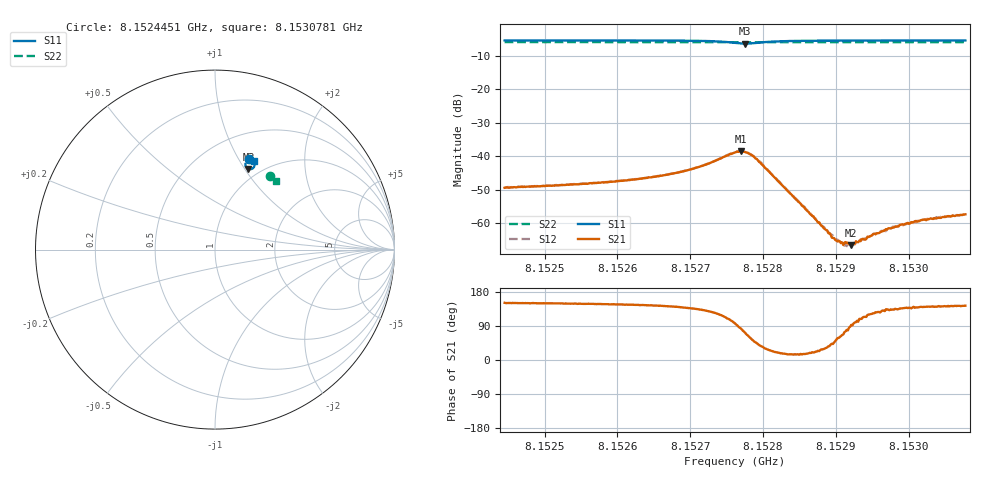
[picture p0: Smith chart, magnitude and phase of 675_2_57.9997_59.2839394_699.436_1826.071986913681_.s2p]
#  HZ  S  RI  R  50.00
! Rohde & Schwarz Vector Network Analyzer
! Rohde-Schwarz,ZNB20-2Port,1311601062101988,3.16
! Created: UTC 3/21/2024, 1:20:37 AM
! freq[Hz]  re:S11  im:S11  re:S21  im:S21  re:S12  im:S12  re:S22  im:S22
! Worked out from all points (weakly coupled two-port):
!   401 points, 8.1524451 GHz to 8.1530781 GHz, reference 50 ohm
!   highest |S21| = -38.52 dB at 8.1527695 GHz (marker M1); lowest = -66.7 dB at 8.1529215 GHz (marker M2)
!   lowest |S11| = -6.3 dB at 8.1527759 GHz (marker M3), VSWR 2.89, Z = 44.2 + j52 ohm
!   |S11| at or under -10 dB: nowhere
!   |S22| runs from -5.9 to -5.8 dB; largest |S21 - S12| = 0.0003
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8.15244508e9  0.1875 0.5071  -0.00295 0.00164  -0.00295 0.00173  0.3087 0.4077
8.15255112e9  0.1965 0.5036  -0.00327 0.00201  -0.0033 0.00209  0.314 0.4033
8.15260967e9  0.2023 0.5007  -0.00357 0.00243  -0.00359 0.00245  0.317 0.4009
8.15265715e9  0.2081 0.497  -0.00401 0.00303  -0.00404 0.0031  0.3193 0.3989
8.15268248e9  0.2119 0.4938  -0.00436 0.00363  -0.0043 0.00371  0.3206 0.3977
8.15271255e9  0.2173 0.4869  -0.00479 0.00503  -0.00473 0.00515  0.3221 0.3961
8.15276161e9  0.2096 0.4522  -0.00131 0.0113  -0.00129 0.0114  0.3235 0.393
8.15276952e9  0.1975 0.4476  0.00135 0.0118  0.00154 0.0118  0.3235 0.3926
8.15277586e9  0.1861 0.4489  0.00379 0.0109  0.00374 0.011  0.3233 0.3927
8.15278535e9  0.173 0.4595  0.00611 0.0082  0.00616 0.00834  0.3236 0.393
8.15279801e9  0.1692 0.4769  0.00618 0.00447  0.00647 0.00453  0.3241 0.3932
8.15286765e9  0.1939 0.4996  0.0012 0.000448  0.00122 0.000397  0.3288 0.3907
8.15289772e9  0.1997 0.4996  0.000414 0.000427  0.000401 0.000441  0.3303 0.3895
8.15290722e9  0.2012 0.4995  0.000228 0.000447  0.000249 0.000435  0.3308 0.3891
8.15291197e9  0.202 0.4993  0.000146 0.000487  0.000125 0.000439  0.331 0.3889
8.15291513e9  0.2025 0.4994  9.15e-05 0.000493  0.000103 0.000439  0.3311 0.3888
8.15292146e9  0.2033 0.4992  -2.44e-05 0.000463  -1.94e-06 0.00049  0.3314 0.3885
8.1529547e9  0.2075 0.4984  -0.0004 0.000548  -0.000387 0.00058  0.3329 0.3871
8.15297369e9  0.2095 0.4979  -0.000554 0.000628  -0.000557 0.000599  0.3339 0.3863
8.15298793e9  0.211 0.4976  -0.000674 0.000651  -0.0007 0.000645  0.3347 0.3856
8.15301959e9  0.2138 0.4965  -0.000853 0.00072  -0.00085 0.000729  0.3363 0.3843
8.15307815e9  0.2189 0.4948  -0.00108 0.000807  -0.00108 0.000867  0.3391 0.3817
